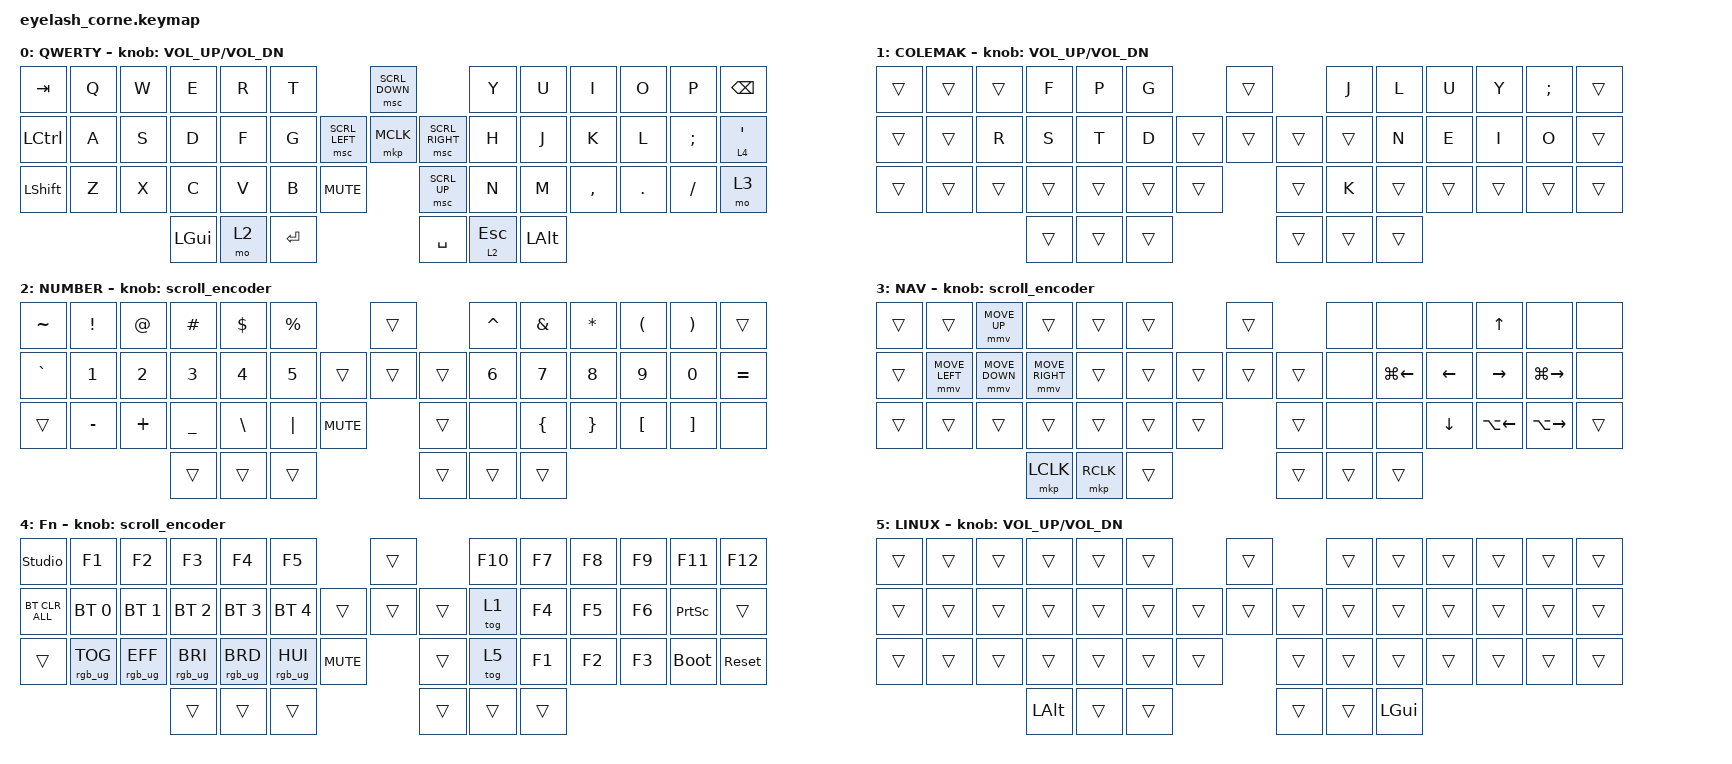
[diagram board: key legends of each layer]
#define ZMK_POINTING_DEFAULT_MOVE_VAL 2000  // 600
#define ZMK_POINTING_DEFAULT_SCRL_VAL 10

#include <input/processors.dtsi>
#include <zephyr/dt-bindings/input/input-event-codes.h>
#include <behaviors.dtsi>
#include <dt-bindings/zmk/bt.h>
#include <dt-bindings/zmk/keys.h>
#include <dt-bindings/zmk/outputs.h>
#include <dt-bindings/zmk/pointing.h>
#include <dt-bindings/zmk/rgb.h>

&mmv_input_listener { input-processors = <&zip_xy_scaler 1 1>; };

&msc_input_listener { input-processors = <&zip_scroll_scaler 1 1>; };

&msc {
    acceleration-exponent = <0>;
    time-to-max-speed-ms = <300>;
    delay-ms = <0>;
};

&mmv {
    time-to-max-speed-ms = <400>;
    acceleration-exponent = <1>;
    trigger-period-ms = <16>;
};

&soft_off { hold-time-ms = <2000>; };

&lt {
    flavor = "balanced";
    tapping-term-ms = <200>;
    quick-tap-ms = <150>;
    require-prior-idle-ms = <125>;
};

&mt {
    flavor = "tap-preferred";
    tapping-term-ms = <200>;
    quick-tap-ms = <150>;
    require-prior-idle-ms = <125>;
};

/ {
    rgb_encoder: rgb_encoder {
        compatible = "zmk,behavior-sensor-rotate";
        #sensor-binding-cells = <0>;
        bindings = <&rgb_ug RGB_BRI>, <&rgb_ug RGB_BRD>;
    };

    // Esc on its own; number layer only when another key interrupts it.
    // Dedicated instance so it keeps quick-tap / require-prior-idle disabled
    // (both default to -1) instead of inheriting the &lt tuning.
    esc_num: esc_num {
        compatible = "zmk,behavior-hold-tap";
        #binding-cells = <2>;
        flavor = "tap-unless-interrupted";

        // Effectively "wait forever": with this flavor the timer only ever
        // forces a tap, so a term nobody can outlast means the key is Esc
        // only when released untouched, and the layer whenever interrupted.
        // Not INT32_MAX -- the remaining time is truncated to int32 before
        // being handed to K_MSEC().
        tapping-term-ms = <60000>;
        bindings = <&mo>, <&kp>;
    };

    scroll_encoder: scroll_encoder {
        compatible = "zmk,behavior-sensor-rotate";
        #sensor-binding-cells = <0>;
        bindings = <&msc SCRL_DOWN>, <&msc SCRL_UP>;

        tap-ms = <100>;
    };

    combos {
        compatible = "zmk,combos";

        softoff {
            bindings = <&soft_off>;
            key-positions = <1 15 29>;
        };

        hr_click {
            bindings = <&kp LG(LS(SPACE))>;
            key-positions = <37 38>;
            timeout-ms = <50>;
            layers = <0 2 3 4>;
        };
    };

    keymap {
        compatible = "zmk,keymap";

        default_layer {
            display-name = "QWERTY";
            bindings = <
&kp TAB    &kp Q  &kp W  &kp E     &kp R  &kp T                                    &msc SCRL_DOWN                   &kp Y        &kp U  &kp I      &kp O    &kp P     &kp BSPC
&kp LCTRL  &kp A  &kp S  &kp D     &kp F  &kp G                   &msc SCRL_LEFT  &mkp MCLK       &msc SCRL_RIGHT  &kp H        &kp J  &kp K      &kp L    &kp SEMI  &lt 4 SQT
&kp LSHFT  &kp Z  &kp X  &kp C     &kp V  &kp B        &kp C_MUTE                    &msc SCRL_UP                     &kp N        &kp M  &kp COMMA  &kp DOT  &kp FSLH  &mo 3
                         &kp LGUI  &mo 2  &kp ENTER                                              &kp SPACE  &esc_num 2 ESC  &kp LALT
            >;

            sensor-bindings = <&inc_dec_kp C_VOLUME_UP C_VOL_DN>;
        };

        colemak_layer {
            display-name = "COLEMAK";
            bindings = <
&trans  &trans  &trans  &kp F   &kp P   &kp G                                    &trans                          &kp J   &kp L  &kp U      &kp Y    &kp SEMI  &trans
&trans  &trans  &kp R   &kp S   &kp T   &kp D                     &trans          &trans          &trans           &trans  &kp N  &kp E      &kp I    &kp O     &trans
&trans  &trans  &trans  &trans  &trans  &trans       &trans                       &trans                          &kp K   &trans &trans     &trans   &trans    &trans
                        &trans  &trans  &trans                                               &trans     &trans  &trans
            >;

            sensor-bindings = <&inc_dec_kp C_VOLUME_UP C_VOL_DN>;
        };

        lower_layer {
            display-name = "NUMBER";
            bindings = <
&kp TILDE  &kp EXCL    &kp AT      &kp HASH    &kp DLLR  &kp PRCNT                                      &trans                          &kp CARET  &kp AMPS  &kp ASTRK  &kp LPAR  &kp RPAR  &trans
&kp GRAVE  &kp N1      &kp N2      &kp N3      &kp N4    &kp N5                       &trans          &trans          &trans           &kp N6     &kp N7    &kp N8     &kp N9    &kp N0    &kp EQUAL
&trans     &kp MINUS   &kp PLUS    &kp UNDER   &kp BSLH  &kp PIPE        &kp C_MUTE                    &trans                          &none      &kp LBRC  &kp RBRC   &kp LBKT  &kp RBKT  &none
                                         &trans        &trans        &trans                                                                          &trans     &trans    &trans
            >;

            sensor-bindings = <&scroll_encoder>;
        };

        raise_layer {
            display-name = "NAV";
            bindings = <
&trans  &trans          &mmv MOVE_UP    &trans           &trans  &trans                                 &trans                          &none  &none  &none         &kp UP        &none          &none
&trans  &mmv MOVE_LEFT  &mmv MOVE_DOWN  &mmv MOVE_RIGHT  &trans  &trans                  &trans         &trans          &trans           &none  &kp LG(LEFT)  &kp LEFT      &kp RIGHT     &kp LG(RIGHT)  &none
&trans  &trans          &trans          &trans           &trans  &trans  &trans                        &trans                          &none  &none         &kp DOWN      &kp LA(LEFT)  &kp LA(RIGHT)  &trans
                                    &mkp LCLK  &mkp RCLK  &trans                                                                   &trans        &trans         &trans
            >;

            sensor-bindings = <&scroll_encoder>;
        };

        layer_3 {
            display-name = "Fn";
            bindings = <
&studio_unlock  &kp F1      &kp F2        &kp F3        &kp F4        &kp F5                                  &trans                          &kp F10    &kp F7  &kp F8  &kp F9  &kp F11          &kp F12
&bt BT_CLR_ALL  &bt BT_SEL 0    &bt BT_SEL 1  &bt BT_SEL 2  &bt BT_SEL 3  &bt BT_SEL 4                &trans          &trans          &trans           &tog 1     &kp F4  &kp F5  &kp F6  &kp PRINTSCREEN  &trans
&trans          &rgb_ug RGB_TOG  &rgb_ug RGB_EFF  &rgb_ug RGB_BRI  &rgb_ug RGB_BRD  &rgb_ug RGB_HUI  &kp C_MUTE                    &trans                          &tog 5     &kp F1  &kp F2  &kp F3  &bootloader      &sys_reset
                                       &trans       &trans     &trans                                                                   &trans     &trans  &trans
            >;

            sensor-bindings = <&scroll_encoder>;
        };

        linux_layer {
            display-name = "LINUX";
            bindings = <
&trans  &trans  &trans  &trans  &trans  &trans                                  &trans                          &trans  &trans  &trans  &trans  &trans  &trans
&trans  &trans  &trans  &trans  &trans  &trans                  &trans          &trans          &trans           &trans  &trans  &trans  &trans  &trans  &trans
&trans  &trans  &trans  &trans  &trans  &trans  &trans                          &trans                          &trans  &trans  &trans  &trans  &trans  &trans
                        &kp LALT  &trans  &trans                                                &trans  &trans  &kp LGUI
            >;

            sensor-bindings = <&inc_dec_kp C_VOLUME_UP C_VOL_DN>;
        };
    };
};
